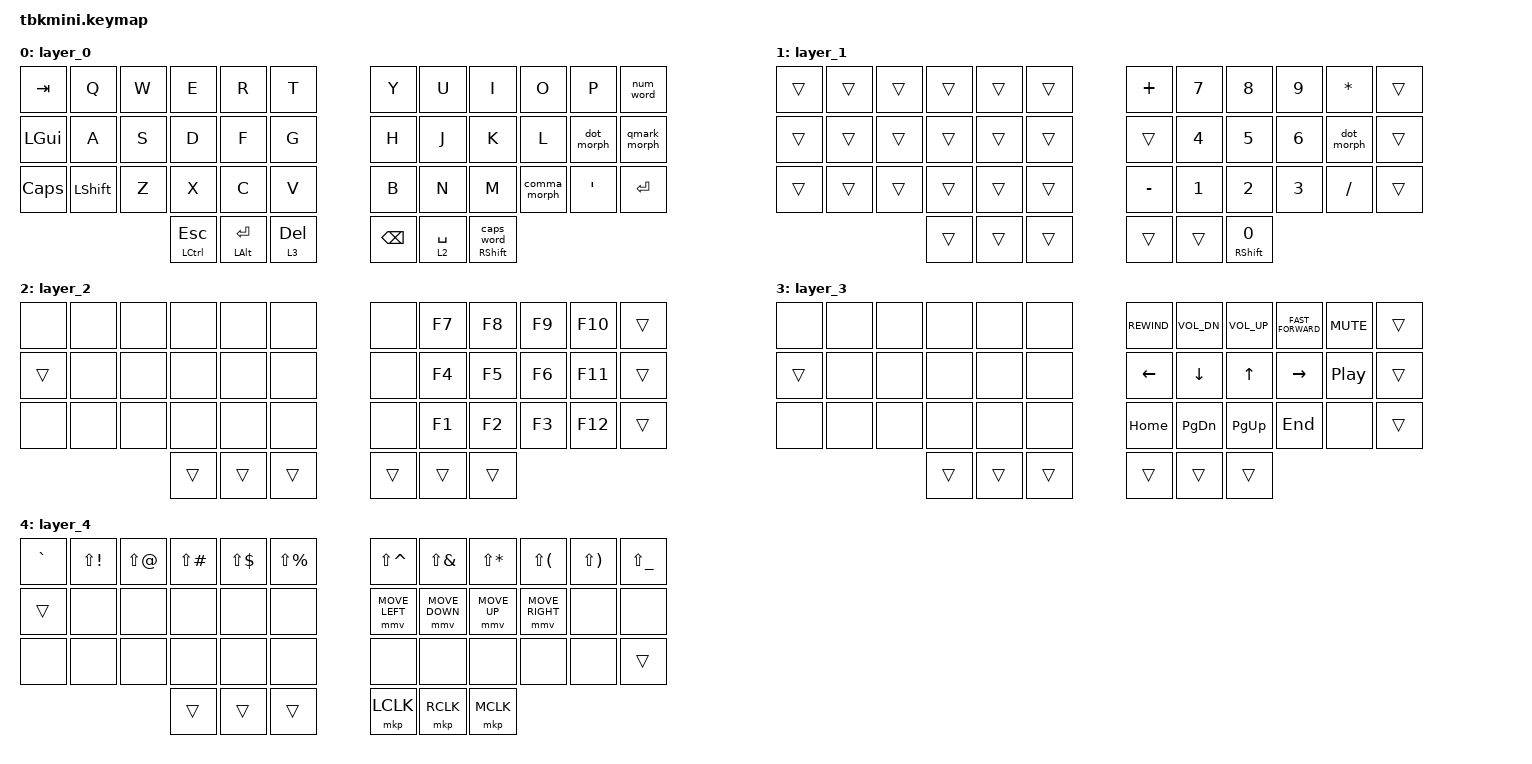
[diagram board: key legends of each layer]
#include <behaviors.dtsi>
#include <dt-bindings/zmk/keys.h>
#include <dt-bindings/zmk/bt.h>
#include <dt-bindings/zmk/mouse.h>
#include <dt-bindings/zmk/outputs.h>
#include <behaviors/mouse_keys.dtsi>


//
/* Global settings */
//


#define QUICK_TAP_MS 175

&sk {
    release-after-ms = <900>;  // release after 0.6s
    quick-release;             // no double capitalization when rolling keys
};

&sl {
    ignore-modifiers;          // allow chording sticky mods & layers
};

&lt {
    flavor = "balanced";
    tapping-term-ms = <200>;
    quick-tap-ms = <QUICK_TAP_MS>;
};

&caps_word {
    /delete-property/ ignore-modifiers;
};

&num_word {
    layers = <1>;
    continue-list = <>;
};


//
/* Morphs */
//


/ {
    behaviors {
        // tap: comma | shift + tap: semicolon | ctrl + shift + tap: <

        comma_morph: behavior_comma_morph {
            compatible = "zmk,behavior-mod-morph";
            #binding-cells = <0>;
            bindings = <&kp COMMA>, <&comma_inner_morph>;

            mods = <(MOD_LSFT|MOD_RSFT)>;
        };

        comma_inner_morph: behavior_comma_inner_morph {
            compatible = "zmk,behavior-mod-morph";
            #binding-cells = <0>;
            bindings = <&kp SEMICOLON>, <&kp LESS_THAN>;

            mods = <(MOD_LCTL|MOD_RCTL)>;
        };

        // tap: dot | shift + tap: colon | ctrl + shift + tap: >

        dot_morph: behavior_dot_morph {
            compatible = "zmk,behavior-mod-morph";
            #binding-cells = <0>;
            bindings = <&kp DOT>, <&dot_inner_morph>;

            mods = <(MOD_LSFT|MOD_RSFT)>;
        };

        dot_inner_morph: behavior_dot_inner_morph {
            compatible = "zmk,behavior-mod-morph";
            #binding-cells = <0>;
            bindings = <&kp COLON>, <&kp GREATER_THAN>;

            mods = <(MOD_LCTL|MOD_RCTL)>;
        };

        // tap: qmark | shift + tap: excl

        qmark_morph: behavior_qmark_morph {
            compatible = "zmk,behavior-mod-morph";
            #binding-cells = <0>;
            bindings = <&kp QMARK>, <&kp EXCL>;

            mods = <(MOD_LSFT|MOD_RSFT)>;
        };

        // tap: left/right parenthesis | shft + tap: less-than/greater-than

        lpar_lt: behavior_lpar_lt {
            compatible = "zmk,behavior-mod-morph";
            #binding-cells = <0>;
            bindings = <&kp LPAR>, <&kp LESS_THAN>;

            mods = <(MOD_LSFT|MOD_RSFT)>;
        };

        rpar_gt: behavior_rpar_gt {
            compatible = "zmk,behavior-mod-morph";
            #binding-cells = <0>;
            bindings = <&kp RPAR>, <&kp GREATER_THAN>;

            mods = <(MOD_LSFT|MOD_RSFT)>;

        };
	num_word: behavior_num_word {
		compatible = "zmk,behavior-caps-word";
		label = "NUM_WORD";
		#binding-cells = <0>;
        	layers = <1>;
		continue-list = <BSPC DEL DOT COMMA PLUS MINUS STAR FSLH EQUAL LPAR RPAR GREATER_THAN LESS_THAN N0 N1 N2 N3 N4 N5 N6 N7 N8 N9>;
        	ignore-numbers;
	};

	shift_caps_word: shift_caps_word {
            compatible = "zmk,behavior-hold-tap";
            #binding-cells = <2>;
            flavor = "hold-preferred";
            tapping-term-ms = <200>;
            quick-tap-ms = <QUICK_TAP_MS>;
            bindings = <&kp>, <&caps_word>;
        };

    };
};


//
/* Mouse */
//


#define ZMK_MOUSE_DEFAULT_MOVE_VAL 1500  // 600
#define ZMK_MOUSE_DEFAULT_SCRL_VAL 20    // 10

&mmv {
    acceleration-exponent = <1>;      // 1
    time-to-max-speed-ms = <500>;    // 40
    delay-ms = <0>;                   // 0
};

&msc {
    acceleration-exponent = <1>;      // 0
    time-to-max-speed-ms = <40>;      // 500
    delay-ms = <0>;                   // 10
};

#define U_MS_U &mmv MOVE_UP
#define U_MS_D &mmv MOVE_DOWN
#define U_MS_L &mmv MOVE_LEFT
#define U_MS_R &mmv MOVE_RIGHT
#define U_WH_U &msc SCRL_UP
#define U_WH_D &msc SCRL_DOWN
#define U_WH_L &msc SCRL_LEFT
#define U_WH_R &msc SCRL_RIGHT

//
/* Macros */
//

/ {
    macros {
        bang_lead: bang_lead {
            compatible = "zmk,behavior-macro";
            #binding-cells = <0>;
            bindings = <&kp EXCL &kp N1 &kp LT &num_word>;
        };
    };
};

//
/* Combos */
//


/ {
    combos {
        compatible = "zmk,combos";

        RH_BT {
            bindings = <&out OUT_BLE>;
            key-positions = <10 9 8 7>;
        };

        LH_USB {
            bindings = <&out OUT_USB>;
            key-positions = <1 2 3 4>;
        };

        CLR_BT {
            bindings = <&bt BT_CLR>;
            key-positions = <1 2 3 4 7 8 9 10>;
        };

        RH_BT1 {
            bindings = <&bt BT_SEL 1>;
            key-positions = <7 8 9 10 31>;
        };

        RH_BT2 {
            bindings = <&bt BT_SEL 2>;
            key-positions = <7 8 9 10 32>;
        };

        RH_BT3 {
            bindings = <&bt BT_SEL 3>;
            key-positions = <7 8 9 10 33>;
        };

        RH_BT4 {
            bindings = <&bt BT_SEL 4>;
            key-positions = <7 8 9 10 19>;
        };

        RH_BT0 {
            bindings = <&bt BT_SEL 0>;
            key-positions = <7 8 9 10 41>;
        };

        LH_ESC {
            bindings = <&kp ESCAPE>;
            key-positions = <2 3>;
        };

        LH_RTN {
            bindings = <&kp ENTER>;
            key-positions = <4 3>;
        };

        LH_REPEAT {
            bindings = <&key_repeat>;
            key-positions = <16 15>;
        };

        LH_TAB {
            bindings = <&kp TAB>;
            key-positions = <15 14>;
        };

        LH_CUT {
            bindings = <&kp LC(X)>;
            key-positions = <25 26>;
        };

        LH_COPY {
            bindings = <&kp LC(C)>;
            key-positions = <26 27>;
        };

        LH_PASTE {
            bindings = <&kp LC(V)>;
            key-positions = <27 28>;
        };

        LH_AT {
            bindings = <&kp AT_SIGN>;
            key-positions = <2 14>;
        };

        LH_GRAVE {
            bindings = <&kp GRAVE>;
            key-positions = <14 26>;
        };

        LH_POUND {
            bindings = <&kp POUND>;
            key-positions = <15 3>;
        };

        LH_BLSH {
            bindings = <&kp BSLH>;
            key-positions = <15 27>;
        };

        LH_DLLR {
            bindings = <&kp DLLR>;
            key-positions = <4 16>;
        };

        LH_EQUAL {
            bindings = <&kp EQUAL>;
            key-positions = <16 28>;
        };

        LH_PRCNT {
            bindings = <&kp PERCENT>;
            key-positions = <5 17>;
        };

        LH_TILDE {
            bindings = <&kp TILDE>;
            key-positions = <17 29>;
        };

        RH_BKSPC {
            bindings = <&kp BACKSPACE>;
            key-positions = <8 7>;
        };

        RH_DEL {
            bindings = <&kp DELETE>;
            key-positions = <8 9>;
        };

        RH_CARET {
            bindings = <&kp CARET>;
            key-positions = <6 18>;
        };

        RH_UNDER {
            bindings = <&kp UNDERSCORE>;
            key-positions = <18 30>;
        };

        RH_PLUS {
            bindings = <&kp PLUS>;
            key-positions = <7 19>;
        };

        RH_MINUS {
            bindings = <&kp KP_MINUS>;
            key-positions = <19 31>;
        };

        RH_ASTRK {
            bindings = <&kp ASTERISK>;
            key-positions = <8 20>;
        };

        RH_FLSH {
            bindings = <&kp FSLH>;
            key-positions = <32 20>;
        };

        RH_AMPS {
            bindings = <&kp AMPERSAND>;
            key-positions = <9 21>;
        };

        RH_PIPE {
            bindings = <&kp PIPE>;
            key-positions = <21 33>;
        };

        RH_CAPS_WORD {
            bindings = <&caps_word>;
            key-positions = <41 40>;
        };

        RH_LPAR {
            bindings = <&lpar_lt>;
            key-positions = <20 19>;
        };

        RH_RPAR {
            bindings = <&rpar_gt>;
            key-positions = <20 21>;
        };

        RH_LBRC {
            bindings = <&kp LEFT_BRACKET>;
            key-positions = <31 32>;
        };

        RH_RBRC {
            bindings = <&kp RIGHT_BRACKET>;
            key-positions = <32 33>;
        };

        RH_ENTER {
            bindings = <&kp ENTER>;
            key-positions = <21 20 19>;
        };

        LH_LAYER4 {
            bindings = <&mo 4>;
            key-positions = <38 37>;
        };

        RH_SCRL_LEFT {
            bindings = <&msc SCRL_LEFT>;
            key-positions = <41 18 30>;
        };

        RH_SCRL_DOWN {
            bindings = <&msc SCRL_DOWN>;
            key-positions = <41 19 31>;
        };

        RH_SCRL_UP {
            bindings = <&msc SCRL_UP>;
            key-positions = <41 20 32>;
        };

        RH_SCRL_RIGHT {
            bindings = <&msc SCRL_RIGHT>;
            key-positions = <41 21 33>;
        };
        RH_NUM_WORD {
            bindings = <&num_word>;
            key-positions = <39 40>;
        };
        LH_CTRL_ALT_DEL {
            bindings = <&kp LC(LA(DEL))>;
            key-positions = <28 27 26>;
        };

        LH_BANG_LEAD {
            bindings = <&bang_lead>;
            key-positions = <27 26 25>;
        };
    };


//
/* Keymap */
//


    keymap {
        compatible = "zmk,keymap";

        layer_0 {
            bindings = <
&kp TAB       &kp Q           &kp W  &kp E             &kp R                &kp T               &kp Y          &kp U        &kp I             &kp O         &kp P             &num_word
&kp LEFT_GUI  &kp A           &kp S  &kp D             &kp F                &kp G               &kp H          &kp J        &kp K             &kp L         &dot_morph        &qmark_morph
&kp CAPS      &kp LEFT_SHIFT  &kp Z  &kp X             &kp C                &kp V               &kp B          &kp N        &kp M             &comma_morph  &kp SINGLE_QUOTE  &kp RETURN
                                     &mt LCTRL ESCAPE  &mt LEFT_ALT RETURN  &lt 3 DELETE        &kp BACKSPACE  &lt 2 SPACE  &shift_caps_word RIGHT_SHIFT 0
            >;
        };

        layer_1 {
            bindings = <
&trans  &trans  &trans  &trans  &trans  &trans        &kp PLUS   &kp N7  &kp N8              &kp N9  &kp ASTERISK  &trans
&trans  &trans  &trans  &trans  &trans  &trans        &trans     &kp N4  &kp N5              &kp N6  &dot_morph    &trans
&trans  &trans  &trans  &trans  &trans  &trans        &kp MINUS  &kp N1  &kp N2              &kp N3  &kp FSLH      &trans
                        &trans  &trans  &trans        &trans     &trans  &mt RIGHT_SHIFT N0
            >;
        };

        layer_2 {
            bindings = <
&none  &none  &none  &none   &none   &none         &none   &kp F7  &kp F8  &kp F9  &kp F10  &trans
&trans &none  &none  &none   &none   &none         &none   &kp F4  &kp F5  &kp F6  &kp F11  &trans
&none  &none  &none  &none   &none   &none         &none   &kp F1  &kp F2  &kp F3  &kp F12  &trans
                     &trans  &trans  &trans        &trans  &trans  &trans
            >;
        };

        layer_3 {
            bindings = <
&none  &none  &none  &none   &none   &none         &kp C_REWIND  &kp C_VOL_DN  &kp C_VOL_UP  &kp C_FAST_FORWARD  &kp C_MUTE  &trans
&trans &none  &none  &none   &none   &none         &kp LEFT      &kp DOWN      &kp UP        &kp RIGHT           &kp C_PP    &trans
&none  &none  &none  &none   &none   &none         &kp HOME      &kp PG_DN     &kp PG_UP     &kp END             &none       &trans
                     &trans  &trans  &trans        &trans        &trans        &trans
            >;
        };

        layer_4 {
            bindings = <
&kp GRAVE  &kp LS(EXCL)  &kp LS(AT)  &kp LS(POUND)  &kp LS(DLLR)  &kp LS(PRCNT)        &kp LS(CARET)   &kp LS(AMPS)    &kp LS(STAR)  &kp LS(LPAR)     &kp LS(RPAR)  &kp LS(UNDER)
&trans     &none         &none       &none          &none         &none                &mmv MOVE_LEFT  &mmv MOVE_DOWN  &mmv MOVE_UP  &mmv MOVE_RIGHT  &none         &none
&none      &none         &none       &none          &none         &none                &none           &none           &none         &none            &none         &trans
                                     &trans         &trans        &trans               &mkp LCLK       &mkp RCLK       &mkp MCLK
            >;
        };
    };
};
